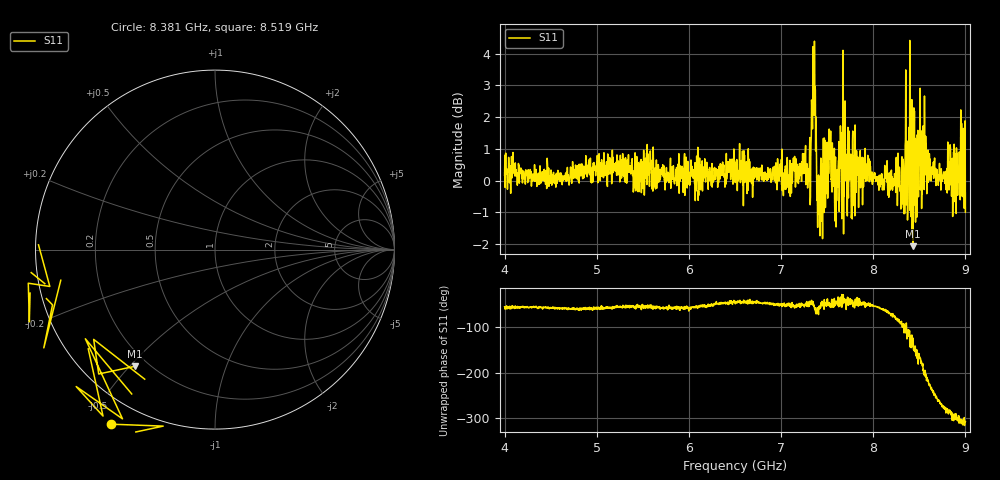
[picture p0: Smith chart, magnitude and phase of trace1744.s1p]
! Created with skrf 1.8.0 (http://scikit-rf.org).
# Hz S RI R 50.0
!freq ReS11 ImS11
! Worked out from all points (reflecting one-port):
!   1601 points, 4 GHz to 9 GHz, reference 50 ohm
!   lowest |S11| = -2.1 dB at 8.431 GHz (marker M1), VSWR 8.44, Z = 7.54 - j25.9 ohm
!   phase of S11 starts at -56 deg and turns -251 deg over the sweep
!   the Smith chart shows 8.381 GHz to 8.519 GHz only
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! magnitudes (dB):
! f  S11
! 4 GHz  0.2
! 4.625 GHz  -0.1
! 5.25 GHz  0.0
! 5.875 GHz  0.3
! 6.5 GHz  0.4
! 7.125 GHz  0.3
! 7.294 GHz  0.4
! 7.316 GHz  -0.8
! 7.347 GHz  4.2
! 7.356 GHz  4.0
! 7.397 GHz  -1.5
! 7.412 GHz  -0.7
! 7.512 GHz  0.7
! 7.606 GHz  0.3
! 7.669 GHz  1.0
! 7.75 GHz  0.2
! 7.928 GHz  0.5
! 8.097 GHz  0.2
! 8.262 GHz  -0.8
! 8.316 GHz  -0.7
! 8.375 GHz  -0.8
! 8.431 GHz  -2.1
! 8.566 GHz  0.2
! 8.606 GHz  0.0
! 8.875 GHz  0.4
! 8.956 GHz  -0.5
! 8.972 GHz  0.5
! 9 GHz  -1.0
